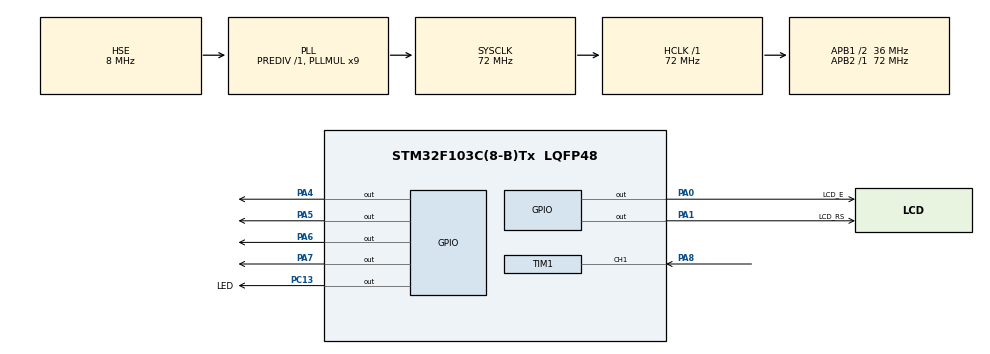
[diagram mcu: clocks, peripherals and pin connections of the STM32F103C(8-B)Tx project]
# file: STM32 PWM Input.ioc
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Mcu.Family=STM32F1
Mcu.Name=STM32F103C(8-B)Tx
Mcu.Package=LQFP48
NVIC.PriorityGroup=NVIC_PRIORITYGROUP_4
NVIC.TIM1_CC_IRQn=true\:5\:0\:true\:false\:true\:true\:true\:true
PA0-WKUP.GPIO_Label=LCD_E
PA0-WKUP.Signal=GPIO_Output
PA1.GPIO_Label=LCD_RS
PA1.Signal=GPIO_Output
PA13.Mode=Serial_Wire
PA13.Signal=SYS_JTMS-SWDIO
PA14.Mode=Serial_Wire
PA14.Signal=SYS_JTCK-SWCLK
PA4.Signal=GPIO_Output
PA5.Signal=GPIO_Output
PA6.Signal=GPIO_Output
PA7.Signal=GPIO_Output
PA8.Signal=S_TIM1_CH1
PC13-TAMPER-RTC.GPIO_Label=LED
PC13-TAMPER-RTC.PinState=GPIO_PIN_SET
PC13-TAMPER-RTC.Signal=GPIO_Output
PD0-OSC_IN.Mode=HSE-External-Oscillator
PD0-OSC_IN.Signal=RCC_OSC_IN
PD1-OSC_OUT.Mode=HSE-External-Oscillator
PD1-OSC_OUT.Signal=RCC_OSC_OUT
ProjectManager.HeapSize=0x200
ProjectManager.StackSize=0x400
ProjectManager.TargetToolchain=STM32CubeIDE
RCC.AHBFreq_Value=72000000
RCC.APB1CLKDivider=RCC_HCLK_DIV2
RCC.APB1Freq_Value=36000000
RCC.APB1TimFreq_Value=72000000
RCC.APB2Freq_Value=72000000
RCC.APB2TimFreq_Value=72000000
RCC.HCLKFreq_Value=72000000
RCC.PLLMUL=RCC_PLL_MUL9
RCC.PLLSourceVirtual=RCC_PLLSOURCE_HSE
RCC.SYSCLKFreq_VALUE=72000000
RCC.SYSCLKSource=RCC_SYSCLKSOURCE_PLLCLK
RCC.USBFreq_Value=72000000
SH.S_TIM1_CH1.0=TIM1_CH1,Input_Capture1_from_TI1
SH.S_TIM1_CH1.1=TIM1_CH1,TriggerSource_TI1FP1
TIM1.Channel-Input_Capture1_from_TI1=TIM_CHANNEL_1
TIM1.Channel-Input_Capture2_from_TI1_63=TIM_CHANNEL_2
TIM1.ICPolarity_CH2=TIM_INPUTCHANNELPOLARITY_FALLING
VP_TIM1_VS_ClockSourceINT.Mode=Internal
VP_TIM1_VS_ControllerModeReset.Mode=Reset Mode
VP_TIM1_VS_indirect_ch1.Mode=Input_Capture2_from_TI1_63
board=custom

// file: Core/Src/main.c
/* USER CODE BEGIN Header */
/**
  ******************************************************************************
  * @file           : main.c
  * @brief          : Main program body
  ******************************************************************************
  * @attention
  *
  * Copyright (c) 2023 STMicroelectronics.
  * All rights reserved.
  *
  * This software is licensed under terms that can be found in the LICENSE file
  * in the root directory of this software component.
  * If no LICENSE file comes with this software, it is provided AS-IS.
  *
  ******************************************************************************
  */
/* USER CODE END Header */
#include "main.h"
#include "tim.h"
#include "gpio.h"

/* USER CODE BEGIN Includes */
#include "lcd.h"
#include <stdio.h>
#include <string.h>
/* USER CODE END Includes */

/* USER CODE BEGIN PV */
__IO uint32_t            uwIC2Value = 0;
/* Duty Cycle Value */
__IO float            uwDutyCycle = 0;
/* Frequency Value */
__IO float            uwFrequency = 0;
uint8_t CompareCplt=0;
/* USER CODE END PV */

void SystemClock_Config(void);

int main(void)
{
  /* USER CODE BEGIN 1 */
uint8_t lcd_bfr[116];
uint16_t TimeOut;
  /* USER CODE END 1 */

  /* MCU Configuration--------------------------------------------------------*/

  /* Reset of all peripherals, Initializes the Flash interface and the Systick. */
  HAL_Init();

  /* Configure the system clock */
  SystemClock_Config();

  /* Initialize all configured peripherals */
  MX_GPIO_Init();
  MX_TIM1_Init();
  /* USER CODE BEGIN 2 */
 LCD_Init_4Bit();
 sprintf((char*)lcd_bfr,"Freq: %.2f kHz",uwFrequency/1000);
 LCD_Cursor(1, 0);
 LCD_Text(lcd_bfr, strlen((char*)lcd_bfr));
 sprintf((char*)lcd_bfr,"Duty: %.2f %%",uwDutyCycle);
 LCD_Cursor(2, 0);
 LCD_Text(lcd_bfr, strlen((char*)lcd_bfr));

 HAL_TIM_IC_Start_IT(&htim1, TIM_CHANNEL_1);
 HAL_TIM_IC_Start_IT(&htim1, TIM_CHANNEL_2);

  /* USER CODE END 2 */

  /* Infinite loop */
  while (1)
  {

    /* USER CODE BEGIN 3 */

//	  if(!CompareCplt){
//		  HAL_TIM_IC_Start_IT(&htim1, TIM_CHANNEL_1);
//          HAL_TIM_IC_Start_IT(&htim1, TIM_CHANNEL_2);
//	      HAL_GPIO_WritePin(LED_GPIO_Port, LED_Pin, GPIO_PIN_RESET);
//	  }

	  TimeOut=0;
//	  while(!CompareCplt){
//		  //if(TimeOut++>500){
//			//  break;
//		  //}
//	  }
//
	  if(!CompareCplt){
		  uwDutyCycle=0;
		  uwFrequency=0;
	  }
	  else{

		  CompareCplt=0;
		  HAL_GPIO_TogglePin(LED_GPIO_Port, LED_Pin);
		  sprintf((char*)lcd_bfr,"Freq: %.2f kHz",uwFrequency/1000);
		  LCD_Cursor(1, 0);
		  LCD_Text(lcd_bfr, strlen((char*)lcd_bfr));
		  sprintf((char*)lcd_bfr,"Duty: %.2f %%",uwDutyCycle);
		  LCD_Cursor(2, 0);
		  LCD_Text(lcd_bfr, strlen((char*)lcd_bfr));
		  HAL_NVIC_EnableIRQ(TIM1_CC_IRQn);
		  HAL_Delay(500);

	  }

  }
  /* USER CODE END 3 */
}

void SystemClock_Config(void)
{
  RCC_OscInitTypeDef RCC_OscInitStruct = {0};
  RCC_ClkInitTypeDef RCC_ClkInitStruct = {0};

  /** Initializes the RCC Oscillators according to the specified parameters
  * in the RCC_OscInitTypeDef structure.
  */
  RCC_OscInitStruct.OscillatorType = RCC_OSCILLATORTYPE_HSE;
  RCC_OscInitStruct.HSEState = RCC_HSE_ON;
  RCC_OscInitStruct.HSEPredivValue = RCC_HSE_PREDIV_DIV1;
  RCC_OscInitStruct.HSIState = RCC_HSI_ON;
  RCC_OscInitStruct.PLL.PLLState = RCC_PLL_ON;
  RCC_OscInitStruct.PLL.PLLSource = RCC_PLLSOURCE_HSE;
  RCC_OscInitStruct.PLL.PLLMUL = RCC_PLL_MUL9;
  if (HAL_RCC_OscConfig(&RCC_OscInitStruct) != HAL_OK)
  {
    Error_Handler();
  }

  /** Initializes the CPU, AHB and APB buses clocks
  */
  RCC_ClkInitStruct.ClockType = RCC_CLOCKTYPE_HCLK|RCC_CLOCKTYPE_SYSCLK
                              |RCC_CLOCKTYPE_PCLK1|RCC_CLOCKTYPE_PCLK2;
  RCC_ClkInitStruct.SYSCLKSource = RCC_SYSCLKSOURCE_PLLCLK;
  RCC_ClkInitStruct.AHBCLKDivider = RCC_SYSCLK_DIV1;
  RCC_ClkInitStruct.APB1CLKDivider = RCC_HCLK_DIV2;
  RCC_ClkInitStruct.APB2CLKDivider = RCC_HCLK_DIV1;

  if (HAL_RCC_ClockConfig(&RCC_ClkInitStruct, FLASH_LATENCY_2) != HAL_OK)
  {
    Error_Handler();
  }
}

/* USER CODE BEGIN 4 */
void HAL_TIM_IC_CaptureCallback(TIM_HandleTypeDef *htim)
{
  if (htim->Channel == HAL_TIM_ACTIVE_CHANNEL_2)
  {
    /* Get the Input Capture value */
    uwIC2Value = HAL_TIM_ReadCapturedValue(htim, TIM_CHANNEL_1);

    if (uwIC2Value != 0)
    {
      /* Duty cycle computation */
      uwDutyCycle =(float) ((HAL_TIM_ReadCapturedValue(htim, TIM_CHANNEL_2)) * 100) / uwIC2Value;

      /* uwFrequency computation
      TIM4 counter clock = (RCC_Clocks.HCLK_Frequency)/2 */
      uwFrequency = (float)HAL_RCC_GetHCLKFreq() / uwIC2Value;
      CompareCplt=1;
      HAL_NVIC_DisableIRQ(TIM1_CC_IRQn);
    }
    else
    {
      uwDutyCycle = 0;
      uwFrequency = 0;
    }
  }

}

/* USER CODE END 4 */

void Error_Handler(void)
{
  __disable_irq();
  while (1)
  {
  }
}
